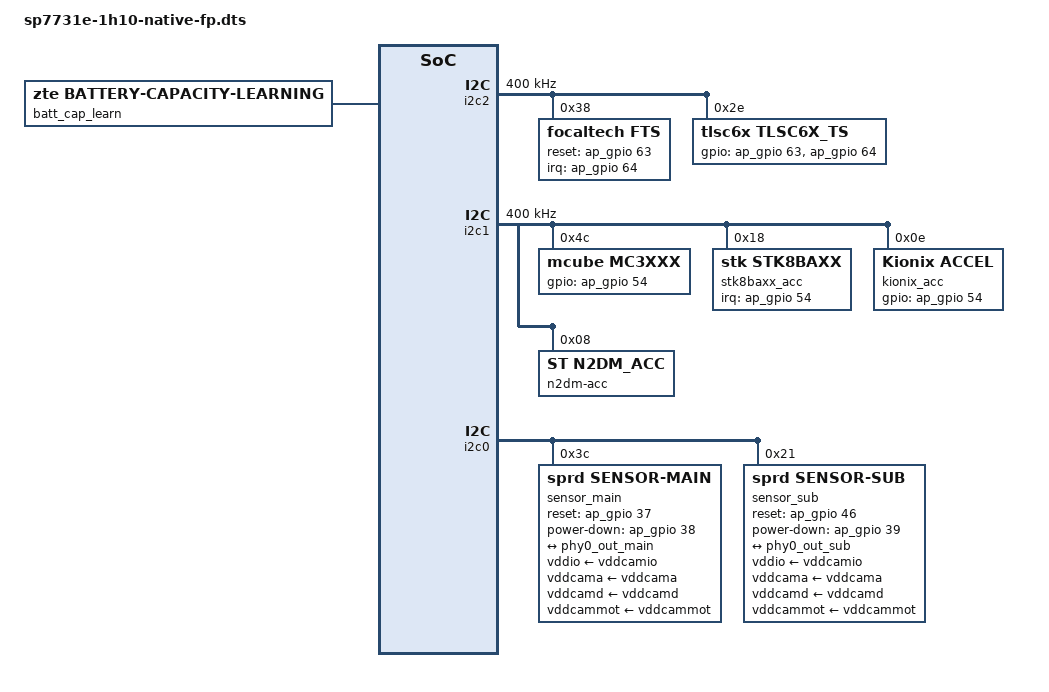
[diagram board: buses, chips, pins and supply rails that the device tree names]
/*****************************************
Do not modify dts file, please modify according dtsi file
******************************************/
#include "../sp7731e-1h10-native-fp.dts"
#include "sprd_base_diff.dtsi"

/ {
	zte_misc: zte_misc {
		status = "okay";
		compatible = "zte-misc";
	};

	charger_policy_service {
		compatible = "zte,charger-policy-service";
		status="okay";
		policy,enable = <1>;
		policy,expired-mode-enable = <1>;
		policy,retry-times = <10>;
		policy,timeout-seconds = <64800>;/* 18 hours */
		policy,max-capacity = <70>;
		policy,min-capacity = <50>;
		policy,bms-phy-name = "battery";
		policy,battery-phy-name = "battery";
	};

	batt_cap_learn {
		compatible = "zte,battery-capacity-learning";
		bcl,enable = <1>;
		bcl,retry-times = <10>;
		bcl,timer-period = <100>;/*ms*/
		bcl,max-start-capacity = <15>;
		bcl,max-temp-decidegc = <450>;
		bcl,min-temp-decidegc = <150>;
		bcl,max-limit-deciperc = <100>;
		bcl,min-limit-deciperc = <50>;
		bcl,max-increment-deciperc = <50>;
		bcl,max-decrement-deciperc = <100>;
		bcl,bms-phy-name = "charger";
		bcl,battery-phy-name = "battery";
		/*bit7: 0: use zte algorithm calc age; 1: use platform algorithm calc age*/
		/*bit4: enable zte algorithm*/
		/*bit3: enable platform algorithm*/
		/*bit0: platform algorithm mode 0: integral mode; 1: delta mode*/
		bcl,algorithm-select = <0x89>;
		bcl,battery-specify-capacity = <3100000>;
		bcl,battery-specify-voltage = <4390>;

		/*3.4V-3.0V 0.2C delta capacity*/
		/*age 150ma 768ma(0.2C) 1300ma*/
		bcl,disch-curr-volt-prop = <100 64 193 393
						86 82 258 412>;

		/*current: 0.04C - 0.02C delta*/
		bcl,topoff-prop = <100 50
				86 72 >;

		/*reduc voltage  50mv 100mv*/
		bcl,reduc-volt-prop = <100 193 366
					86 230 396 >;
	};
};

&i2c2 {
	clock-frequency = <400000>;
	status = "okay";

	/delete-node/ adaptive-touchscreen@38;

	focaltech@38 {
		compatible = "focaltech,fts";
		reg = <0x38>;
		focaltech,reset-gpio = <&ap_gpio 63 0>;
		focaltech,irq-gpio = <&ap_gpio 64 0x2008>;
		focaltech,display-coords = <0 0 480 800>;
		focaltech,max-touch-number = <2>;
	};
	tlsc6x_ts@2e {
		compatible = "tlsc6x,tlsc6x_ts";
		reg = <0x2e>;
		gpios = <&ap_gpio 63 0
			&ap_gpio 64 0>;
		vdd_name = "vdd28";
		TP_MAX_X = <480>;
		TP_MAX_Y = <960>;
	};
};

&i2c1{
	clock-frequency = <400000>;
	status = "okay";

	mc3xxx@4c{
		compatible = "mcube,mc3xxx";
		reg = <0x4c>;
		gpios = <&ap_gpio 54 0>;
		poll_interval = <10>;
		min_interval = <1>;
		g_range = <0>;
		axis_maps_x = <0>;
		axis_maps_y = <1>;
		axis_maps_z = <2>;
		negate_x = <1>;
		negate_y = <1>;
		negate_z = <0>;
	};
	stk8baxx_acc@18{
		compatible = "stk,stk8baxx";
		reg = <0x18>;
		stk8baxx,irq-gpio = <&ap_gpio 54 0>;
		stk,direction = <1>;
	};

	kionix_acc@0E{
		compatible = "Kionix,accel";
		reg = <0x0E>;
		poll_interval = <10>;
		min_interval = <10>;
		g_range = <0>;
		accel_res = <0>;
		accel_irq_use_drdy = <1>;
		accel_direction = <3>;
		gpios = <&ap_gpio 54 0>;
	};

	n2dm-acc@8{
		compatible = "ST,n2dm_acc";
		reg = <0x08>;
		poll_interval = <10>;
		min_interval = <10>;
		g_range = <0>;
		axis_map_x = <0>;
		axis_map_y = <1>;
		axis_map_z = <2>;
		negate_x = <1>;
		negate_y = <0>;
		negate_z = <0>;
	};
};

/*****************************************
cam setting
******************************************/
&i2c0 {
	/delete-node/ sensor-main@3c;
	/delete-node/ sensor-sub@21;
};

&i2c0 {
	sensor_main: sensor-main@3c {
		compatible = "sprd,sensor-main";
		reg = <0x3c>;
		clock-names = "clk_src", "sensor_eb",
			"clk_96m", "clk_76m8",
			"clk_48m", "clk_26m";
		clocks  = <&clk_sensor0>,
			<&clk_mm_ckg_gates 1>,
			<&clk_twpll_96m>,
			<&clk_twpll_76m8>,
			<&clk_twpll_48m>,
			<&ext_26m>;
		vddio-supply = <&vddcamio>;
		vddcama-supply = <&vddcama>;
		vddcamd-supply = <&vddcamd>;
		vddcammot-supply = <&vddcammot>;
		reset-gpios = <&ap_gpio 37 0>;
		power-down-gpios = <&ap_gpio 38 0>;
		host = "dcam0";
		port {
			sensor_main_0: endpoint {
				remote-endpoint = <&phy0_out_main>;
			};
		};
	};

	sensor_sub: sensor-sub@21 {
		compatible = "sprd,sensor-sub";
		reg = <0x21>;
		clock-names = "clk_src","sensor_eb",
			"clk_96m", "clk_76m8",
			"clk_48m", "clk_26m";
		clocks = <&clk_sensor0>,
			<&clk_mm_ckg_gates 1>,
			<&clk_twpll_96m>,
			<&clk_twpll_76m8>,
			<&clk_twpll_48m>,
			<&ext_26m>;
		vddio-supply = <&vddcamio>;
		vddcama-supply = <&vddcama>;
		vddcamd-supply = <&vddcamd>;
		vddcammot-supply = <&vddcammot>;
		reset-gpios = <&ap_gpio 46 0>;
		power-down-gpios = <&ap_gpio 39 0>;
		host = "dcam0";
		port {
			sensor_sub_0: endpoint {
				remote-endpoint = <&phy0_out_sub>;
			};
		};
	};
};

&pmic_flash{
	compatible = "sprd,sc2720-flash";
	reg=<0x1f4>;
};

